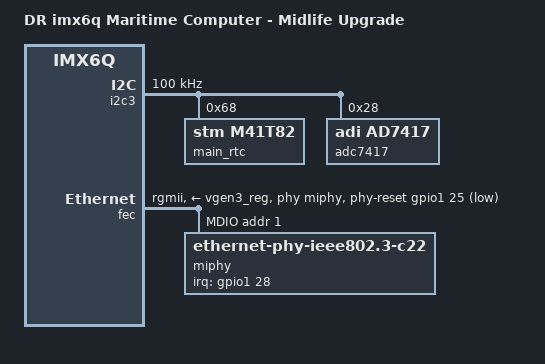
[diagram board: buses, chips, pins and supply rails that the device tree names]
/*
 * Copyright 2015 DATA RESPONS AS
 *
 * The code contained herein is licensed under the GNU General Public
 * License. You may obtain a copy of the GNU General Public License
 * Version 2 or later at the following locations:
 *
 * http://www.opensource.org/licenses/gpl-license.html
 * http://www.gnu.org/copyleft/gpl.html
 */

/dts-v1/;

#include "imx6q.dtsi"
#include "mxxf1-common.dtsi"

/ {
    model = "DR imx6q Maritime Computer - Midlife Upgrade";
    compatible = "dr,mxxf1-hw4", "fsl,imx6q";
};

&i2c3 {
    clock-frequency = <100000>;
    pinctrl-names = "default";
    pinctrl-0 = <&pinctrl_i2c3>;
    status = "okay";

    main_rtc: rtc@68 {
        compatible = "stm,m41t82";
        reg = <0x68>;
        };

    adc7417@28 {
        compatible = "adi,ad7417";
        reg = <0x28>;
        };
};

&fec {
	pinctrl-names = "default";
	pinctrl-0 = <&pinctrl_enet_lm>;
	phy-mode = "rgmii";
	status = "okay";
	phy-reset-duration = <10>;
	phy-reset-gpios = <&gpio1 25 GPIO_ACTIVE_LOW>;
	phy-handle = <&miphy>;
	phy-supply = <&vgen3_reg>;
    txen-skew-ps = <0>;
	txc-skew-ps = <3000>;
	rxdv-skew-ps = <0>;
	rxc-skew-ps = <3000>;
	rxd0-skew-ps = <0>;
	rxd1-skew-ps = <0>;
	rxd2-skew-ps = <0>;
	rxd3-skew-ps = <0>;
	txd0-skew-ps = <0>;
	txd1-skew-ps = <0>;
	txd2-skew-ps = <0>;
	txd3-skew-ps = <0>;
	mdio {
	   #address-cells = <1>;
       #size-cells = <0>;
	   miphy: ethernet-phy@1 {
	       compatible = "ethernet-phy-ieee802.3-c22";
	       reg = <0x1>;
	       interrupt-parent = <&gpio1>;
	       interrupts = <28 IRQ_TYPE_LEVEL_LOW>;
	   };
	};
};
